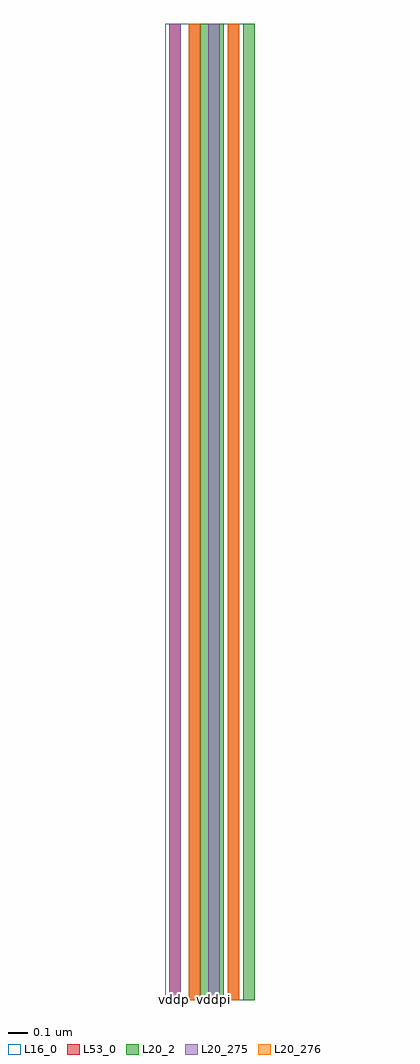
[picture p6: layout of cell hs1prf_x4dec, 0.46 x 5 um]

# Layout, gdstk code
import gdstk
lib = gdstk.Library(unit=1e-6, precision=5e-10)
def R(c, l, rs):  # rectangles x0, y0, x1, y1
    for r in rs: c.add(gdstk.rectangle(r[:2], r[2:], *l))
L16_0 = (16, 0)
L20_2 = (20, 2)
L20_275 = (20, 275)
L20_276 = (20, 276)
L53_0 = (53, 0)

hs1prf_x4dec = lib.new_cell('hs1prf_x4dec')
R(hs1prf_x4dec, L16_0, [(0,0,0.46,5)])
R(hs1prf_x4dec, L20_2, [(0.18,0,0.3,5), (0.4,0,0.46,5)])
R(hs1prf_x4dec, L53_0, [(0.02,0,0.08,5), (0.12,0,0.18,5), (0.32,0,0.38,5)])
hs1prf_x4dec.add(gdstk.FlexPath([(0.05,0),(0.05,5)], 0.06, ends="flush", simple_path=True, layer=20, datatype=275))  # L20_275
hs1prf_x4dec.add(gdstk.FlexPath([(0.15,0),(0.15,5)], 0.06, ends="flush", simple_path=True, layer=20, datatype=276))  # L20_276
hs1prf_x4dec.add(gdstk.FlexPath([(0.25,0),(0.25,5)], 0.06, ends="flush", simple_path=True, layer=20, datatype=275))  # L20_275
hs1prf_x4dec.add(gdstk.FlexPath([(0.35,0),(0.35,5)], 0.06, ends="flush", simple_path=True, layer=20, datatype=276))  # L20_276
hs1prf_x4dec.add(gdstk.Label('vddp', (0.05,0.005), layer=60, texttype=0))
hs1prf_x4dec.add(gdstk.Label('vss', (0.15,0.005), layer=60, texttype=0))
hs1prf_x4dec.add(gdstk.Label('vddpi', (0.25,0.005), layer=60, texttype=0))
hs1prf_x4dec.add(gdstk.Label('vddp', (0.35,0.005), layer=60, texttype=0))

lib.write_gds('hs1prf_x4dec.gds')
